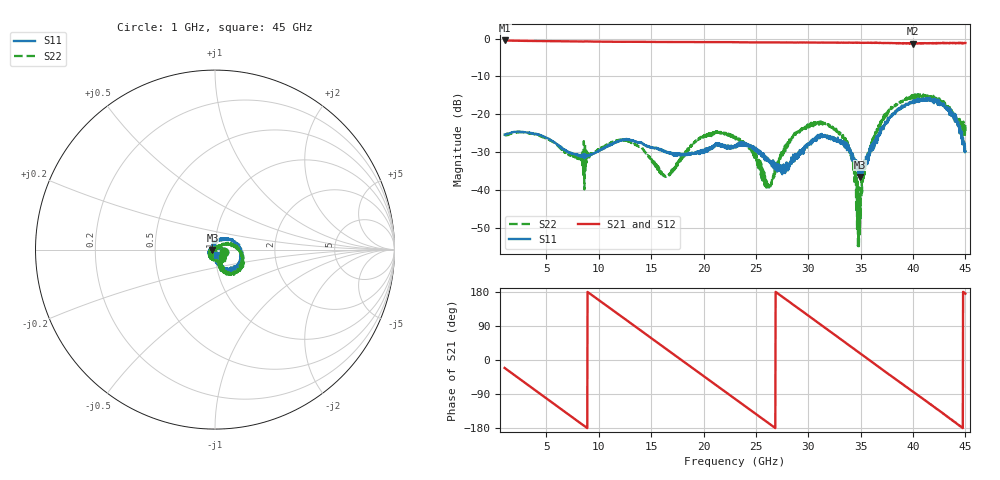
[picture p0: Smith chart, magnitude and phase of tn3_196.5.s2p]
!Keysight Technologies,N5247B,MY61255062,A.19.80.06
!Date: Thursday, May 21, 2026 11:59:43
!Correction: S11(Cdelta 2-Port  )
!S21(Cdelta 2-Port  )
!S12(Cdelta 2-Port  )
!S22(Cdelta 2-Port  )
!S2P File: Measurements: S11, S21, S12, S22:
# Hz S  dB  R 50
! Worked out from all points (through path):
!   1601 points, 1 GHz to 45 GHz, reference 50 ohm
!   highest |S21| = -0.48 dB at 1 GHz (marker M1); lowest = -1.3 dB at 39.97 GHz (marker M2)
!   group delay of S21, straight-line fit = 55.7 ps
!   lowest |S11| = -36.6 dB at 34.91 GHz (marker M3), VSWR 1.03, Z = 48.6 - j0.27 ohm
!   |S11| at or under -10 dB: start of sweep to end of sweep
!   |S22| runs from -54.9 to -14.8 dB; largest |S21 - S12| = 0.016
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1e9  -25.39 -12.1  -0.48 -21.0  -0.48 -21.0  -25.48 -12.5
4.6025e9  -25.74 -81.8  -0.65 -93.6  -0.65 -93.6  -26.06 -81.8
8.3425e9  -30.89 -96.0  -0.76 -168.8  -0.76 -168.9  -32.25 -97.5
1.02125e10  -29.44 -87.4  -0.79 153.7  -0.80 153.7  -29.09 -85.1
1.2385e10  -26.86 -104.9  -0.84 110.3  -0.84 110.3  -26.70 -107.8
1.5685e10  -29.14 -125.9  -0.88 44.0  -0.89 44.0  -34.68 -126.3
1.65925e10  -29.99 -124.6  -0.91 25.9  -0.91 25.9  -36.24 -91.2
1.89575e10  -30.45 -111.8  -0.92 -21.3  -0.92 -21.3  -28.11 -69.9
2.1075e10  -28.26 -112.1  -0.94 -63.9  -0.94 -63.9  -24.76 -94.3
2.3e10  -28.27 -127.9  -0.94 -102.6  -0.95 -102.6  -25.98 -122.5
2.62175e10  -32.44 155.4  -1.00 -167.0  -1.00 -167.0  -39.42 117.9
2.76475e10  -33.29 82.8  -1.01 164.3  -1.02 164.2  -29.86 16.5
3.03425e10  -27.37 -18.8  -1.01 110.1  -1.02 110.1  -22.44 -40.8
3.3505e10  -28.26 -99.5  -1.07 46.5  -1.08 46.5  -26.53 -100.4
3.43025e10  -31.30 -124.5  -1.08 30.6  -1.08 30.4  -35.20 -118.1
3.477e10  -33.63 -157.6  -1.06 21.1  -1.08 21.1  -53.25 -18.2
3.49075e10  -36.59 -169.2  -1.08 18.3  -1.09 18.2  -51.83 67.2
3.57875e10  -30.04 113.5  -1.09 0.6  -1.11 0.7  -30.66 32.1
3.7685e10  -21.26 43.5  -1.14 -37.9  -1.12 -37.6  -18.85 12.3
3.99675e10  -16.57 -6.0  -1.29 -83.1  -1.26 -83.3  -15.77 -23.1
4.31025e10  -18.33 -58.9  -1.17 -145.8  -1.21 -146.0  -17.81 -65.0
4.5e10  -29.83 -72.7  -1.14 175.1  -1.21 175.1  -24.46 -52.2
